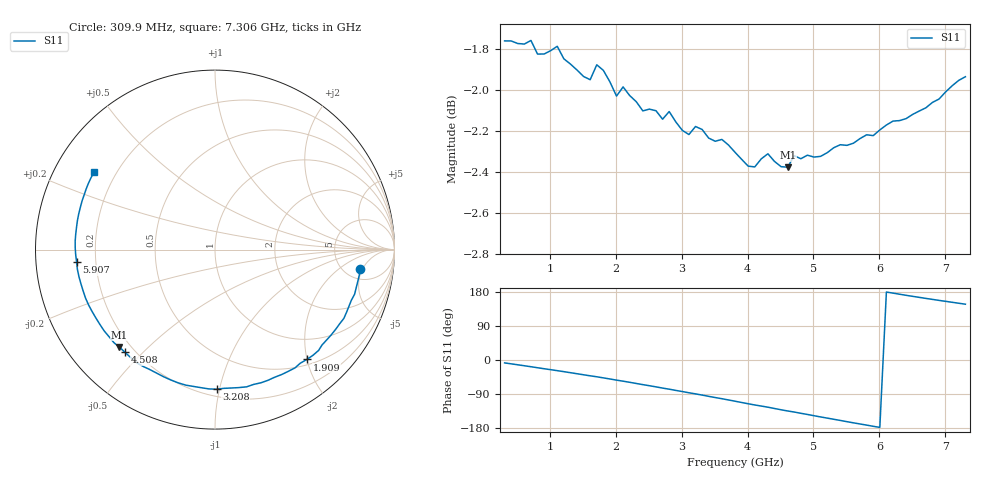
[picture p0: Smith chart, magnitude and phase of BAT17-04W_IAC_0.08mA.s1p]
! Infineon Technologies  Discrete & RF Semiconductors
! BAT17-04W
! IAC = 0.08 mA
! One-Port S-Parameters
# Hz  S  MA  R  50
!f  S11
!Hz  Mag  Ang
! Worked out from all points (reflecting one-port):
!   71 points, 309.9 MHz to 7.306 GHz, reference 50 ohm
!   lowest |S11| = -2.4 dB at 4.608 GHz (marker M1), VSWR 7.35, Z = 7.97 - j20.5 ohm
!   phase of S11 starts at -8 deg and turns -205 deg over the sweep
!   S11 on the Smith chart (normalised r, x): 309.9 MHz: 6.90, -4.51; 1.909 GHz: 0.59, -2.00; 3.208 GHz: 0.25, -0.98; 4.508 GHz: 0.16, -0.44; 5.907 GHz: 0.13, -0.04; 7.306 GHz: 0.12, +0.29
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3.0985e8  0.8163 -7.7
7.0965e8  0.8165 -17.8
1.10945e9  0.8139 -28.1
1.2094e9  0.8082 -30.8
1.6092e9  0.7988 -41.8
1.70915e9  0.8055 -44.2
1.90905e9  0.7978 -50.1
2.10895e9  0.7956 -55.9
2.6087e9  0.785 -70.9
2.8086e9  0.7847 -77.0
3.0085e9  0.7764 -83.2
3.2084e9  0.7781 -89.4
3.6082e9  0.7725 -102.1
3.8081e9  0.767 -108.7
4.008e9  0.7611 -115.5
4.30785e9  0.7663 -124.6
4.50775e9  0.7608 -131.3
4.6077e9  0.7606 -134.5
4.70765e9  0.7655 -137.3
5.0075e9  0.7649 -147.0
5.2074e9  0.7668 -153.3
5.4073e9  0.7702 -159.5
5.6072e9  0.7709 -165.8
5.90705e9  0.7742 -175.0
6.2069e9  0.7805 176.5
6.50675e9  0.7834 168.0
7.0065e9  0.7933 154.8
7.30635e9  0.8001 147.2
